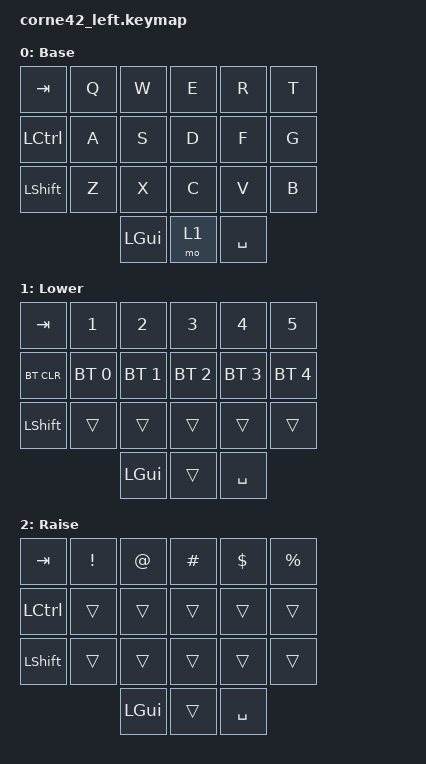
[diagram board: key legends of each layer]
#include <behaviors.dtsi>
#include <dt-bindings/zmk/keys.h>
#include <dt-bindings/zmk/bt.h>

/ {
    keymap {
        compatible = "zmk,keymap";

        base_layer {
            display-name = "Base";
            bindings = <
                &kp TAB    &kp Q       &kp W       &kp E       &kp R       &kp T
                &kp LCTRL  &kp A       &kp S       &kp D       &kp F       &kp G
                &kp LSHFT  &kp Z       &kp X       &kp C       &kp V       &kp B
                                        &kp LGUI    &mo 1       &kp SPACE
            >;
        };

        lower_layer {
            display-name = "Lower";
            bindings = <
                &kp TAB    &kp N1      &kp N2      &kp N3      &kp N4      &kp N5
                &bt BT_CLR &bt BT_SEL 0 &bt BT_SEL 1 &bt BT_SEL 2 &bt BT_SEL 3 &bt BT_SEL 4
                &kp LSHFT  &trans      &trans      &trans      &trans      &trans
                                        &kp LGUI    &trans      &kp SPACE
            >;
        };

        raise_layer {
            display-name = "Raise";
            bindings = <
                &kp TAB    &kp EXCL    &kp AT      &kp HASH    &kp DLLR    &kp PRCNT
                &kp LCTRL  &trans      &trans      &trans      &trans      &trans
                &kp LSHFT  &trans      &trans      &trans      &trans      &trans
                                        &kp LGUI    &trans      &kp SPACE
            >;
        };
    };
};
